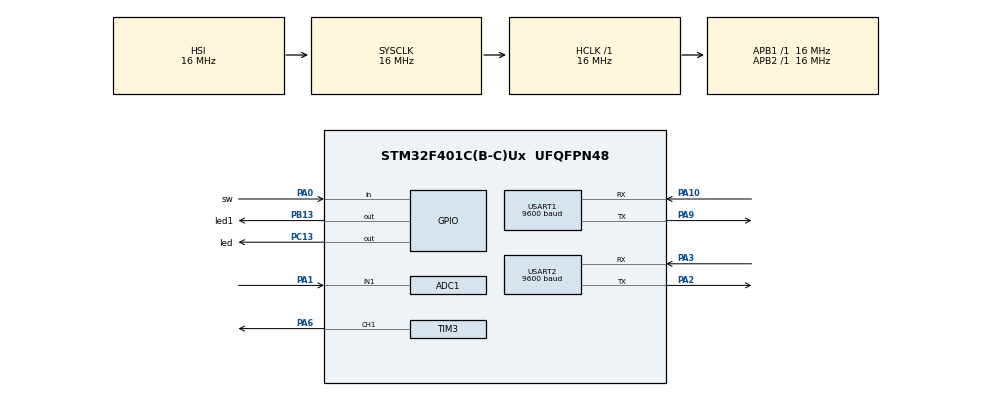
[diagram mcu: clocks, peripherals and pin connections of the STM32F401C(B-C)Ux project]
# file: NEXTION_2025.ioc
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ADC1.Channel-0\#ChannelRegularConversion=ADC_CHANNEL_1
ADC1.Channel-1\#ChannelRegularConversion=ADC_CHANNEL_TEMPSENSOR
ADC1.NbrOfConversion=2
ADC1.NbrOfConversionFlag=1
ADC1.Rank-0\#ChannelRegularConversion=1
ADC1.Rank-1\#ChannelRegularConversion=2
ADC1.SamplingTime-0\#ChannelRegularConversion=ADC_SAMPLETIME_3CYCLES
ADC1.SamplingTime-1\#ChannelRegularConversion=ADC_SAMPLETIME_15CYCLES
ADC1.master=1
Dma.ADC1.2.Direction=DMA_PERIPH_TO_MEMORY
Dma.ADC1.2.FIFOMode=DMA_FIFOMODE_DISABLE
Dma.ADC1.2.Instance=DMA2_Stream0
Dma.ADC1.2.MemDataAlignment=DMA_MDATAALIGN_HALFWORD
Dma.ADC1.2.MemInc=DMA_MINC_ENABLE
Dma.ADC1.2.Mode=DMA_NORMAL
Dma.ADC1.2.PeriphDataAlignment=DMA_PDATAALIGN_HALFWORD
Dma.ADC1.2.PeriphInc=DMA_PINC_DISABLE
Dma.ADC1.2.Priority=DMA_PRIORITY_LOW
Dma.Request0=USART2_RX
Dma.Request1=USART1_RX
Dma.Request2=ADC1
Dma.USART1_RX.1.Direction=DMA_PERIPH_TO_MEMORY
Dma.USART1_RX.1.FIFOMode=DMA_FIFOMODE_DISABLE
Dma.USART1_RX.1.Instance=DMA2_Stream2
Dma.USART1_RX.1.MemDataAlignment=DMA_MDATAALIGN_BYTE
Dma.USART1_RX.1.MemInc=DMA_MINC_ENABLE
Dma.USART1_RX.1.Mode=DMA_NORMAL
Dma.USART1_RX.1.PeriphDataAlignment=DMA_PDATAALIGN_BYTE
Dma.USART1_RX.1.PeriphInc=DMA_PINC_DISABLE
Dma.USART1_RX.1.Priority=DMA_PRIORITY_LOW
Dma.USART2_RX.0.Direction=DMA_PERIPH_TO_MEMORY
Dma.USART2_RX.0.FIFOMode=DMA_FIFOMODE_DISABLE
Dma.USART2_RX.0.Instance=DMA1_Stream5
Dma.USART2_RX.0.MemDataAlignment=DMA_MDATAALIGN_BYTE
Dma.USART2_RX.0.MemInc=DMA_MINC_ENABLE
Dma.USART2_RX.0.Mode=DMA_NORMAL
Dma.USART2_RX.0.PeriphDataAlignment=DMA_PDATAALIGN_BYTE
Dma.USART2_RX.0.PeriphInc=DMA_PINC_DISABLE
Dma.USART2_RX.0.Priority=DMA_PRIORITY_LOW
Mcu.Family=STM32F4
Mcu.Name=STM32F401C(B-C)Ux
Mcu.Package=UFQFPN48
NVIC.DMA1_Stream5_IRQn=true\:0\:0\:false\:false\:true\:false\:true\:true
NVIC.DMA2_Stream0_IRQn=true\:0\:0\:false\:false\:true\:false\:true\:true
NVIC.DMA2_Stream2_IRQn=true\:0\:0\:false\:false\:true\:false\:true\:true
NVIC.PriorityGroup=NVIC_PRIORITYGROUP_4
NVIC.USART1_IRQn=true\:0\:0\:false\:false\:true\:true\:true\:true
NVIC.USART2_IRQn=true\:0\:0\:false\:false\:true\:true\:true\:true
PA0-WKUP.GPIO_Label=sw
PA0-WKUP.GPIO_PuPd=GPIO_PULLUP
PA0-WKUP.Signal=GPIO_Input
PA1.Signal=ADCx_IN1
PA10.Mode=Asynchronous
PA10.Signal=USART1_RX
PA2.Mode=Asynchronous
PA2.Signal=USART2_TX
PA3.Mode=Asynchronous
PA3.Signal=USART2_RX
PA6.Signal=S_TIM3_CH1
PA9.Mode=Asynchronous
PA9.Signal=USART1_TX
PB13.GPIO_Label=led1
PB13.Signal=GPIO_Output
PC13-ANTI_TAMP.GPIO_Label=led
PC13-ANTI_TAMP.Signal=GPIO_Output
ProjectManager.HeapSize=0x200
ProjectManager.StackSize=0x400
ProjectManager.TargetToolchain=STM32CubeIDE
RCC.AHBFreq_Value=16000000
RCC.APB1Freq_Value=16000000
RCC.APB2Freq_Value=16000000
RCC.CortexFreq_Value=16000000
RCC.HSE_VALUE=25000000
RCC.HSI_VALUE=16000000
RCC.LSE_VALUE=32768
RCC.SYSCLKFreq_VALUE=16000000
RCC.VCOOutputFreq_Value=192000000
SH.ADCx_IN1.0=ADC1_IN1,IN1
SH.S_TIM3_CH1.0=TIM3_CH1,PWM Generation1 CH1
TIM3.AutoReloadPreload=TIM_AUTORELOAD_PRELOAD_ENABLE
TIM3.Channel-PWM\ Generation1\ CH1=TIM_CHANNEL_1
TIM3.Period=20000
TIM3.Prescaler=16-1
USART1.BaudRate=9600
USART1.VirtualMode=VM_ASYNC
USART2.BaudRate=9600
USART2.VirtualMode=VM_ASYNC
VP_ADC1_TempSens_Input.Mode=IN-TempSens
VP_TIM3_VS_ClockSourceINT.Mode=Internal
board=custom

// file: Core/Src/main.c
/* USER CODE BEGIN Header */
/**
  ******************************************************************************
  * @file           : main.c
  * @brief          : Main program body
  ******************************************************************************
  * @attention
  *
  * Copyright (c) 2025 STMicroelectronics.
  * All rights reserved.
  *
  * This software is licensed under terms that can be found in the LICENSE file
  * in the root directory of this software component.
  * If no LICENSE file comes with this software, it is provided AS-IS.
  *
  ******************************************************************************
  */
/* USER CODE END Header */
#include "main.h"

/* USER CODE BEGIN Includes */
#include "adc_x.h"
#include "uart.h"
#include "PWMB.h"
#include "pinout.h"
#include "Nextion.h"
#include "UARTRX.h"
#include "stdlib.h"
#include "stdint.h"
#include "stdio.h"
#include "string.h"
#include "math.h"
#include "MAP_.h"

/* USER CODE END Includes */

ADC_HandleTypeDef hadc1;
DMA_HandleTypeDef hdma_adc1;

TIM_HandleTypeDef htim3;

UART_HandleTypeDef huart1;
UART_HandleTypeDef huart2;
DMA_HandleTypeDef hdma_usart1_rx;
DMA_HandleTypeDef hdma_usart2_rx;

/* USER CODE BEGIN PV */
char texto[50];
uint16_t codigo;
float voltaje1,voltaje2, temperatura;
uint8_t graf=0;
/* USER CODE END PV */

void SystemClock_Config(void);
static void MX_GPIO_Init(void);
static void MX_DMA_Init(void);
static void MX_ADC1_Init(void);
static void MX_TIM3_Init(void);
static void MX_USART1_UART_Init(void);
static void MX_USART2_UART_Init(void);

/* USER CODE BEGIN 0 */
void procesa_nextion()
{

  if (Nextion_Read_Text("sw1=on")==1) PIN_OFF(led);
  else if (Nextion_Read_Text("sw1=off")==1) PIN_ON(led);

  else if (Nextion_Read_Text("graon")==1) graf=1;
  else if (Nextion_Read_Text("graoff")==1) graf=0;

  //calcula una variable
  else if (Nextion_Read_Text("pwm1=")==1)
  {
  uint8_t ancho=Nextion_Read_1Byte();
  PWM_valor(&PWM1, ancho);
  }

  else if (Nextion_Read_Text("setint=")==1)
    {
    uint16_t numero=Nextion_Read_2Byte();
    sprintf(texto,"\r\nnum1=%d\r\n",numero);
	uartx_write_text(&huart2, texto);
	HAL_Delay(2000);
    }
  else if (Nextion_Read_Text("set4=")==1)
     {
     uint32_t numero=Nextion_Read_4Byte();
     sprintf(texto,"\r\nnum1=%lu\r\n",numero);
 	uartx_write_text(&huart2, texto);
 	HAL_Delay(2000);
     }
  //lee una avrible flotante tipo texto
  else if (Nextion_Read_Text("setext=")==1)
      {
        Nextion_Read_TextVar();//lee  la variable entre = y /
 //relaiza algo
        uint16_t ancho=atoi(nextion_text);
		PWM_valor(&PWM1, ancho);

      }
  //lee una info tipo texto no variab;e
  else if (Nextion_Read_Text("nom=")==1)
        {
          Nextion_Read_TextVar();//lee  la variable entre = y /
   //relaiza algo
          uartx_write_text(&huart2, nextion_text);
           	HAL_Delay(2000);
        }

}
/* USER CODE END 0 */

int main(void)
{

  /* MCU Configuration--------------------------------------------------------*/

  /* Reset of all peripherals, Initializes the Flash interface and the Systick. */
  HAL_Init();

  /* Configure the system clock */
  SystemClock_Config();

  /* Initialize all configured peripherals */
  MX_GPIO_Init();
  MX_DMA_Init();
  MX_ADC1_Init();
  MX_TIM3_Init();
  MX_USART1_UART_Init();
  MX_USART2_UART_Init();
  /* USER CODE BEGIN 2 */
  uartx_write_text(&huart2, "INICIANDO2\r\n");

  PWM_init(&PWM1);
  PWM_valor(&PWM1, 0);

  nextionRX_init();
  /* USER CODE END 2 */

  /* Infinite loop */
  /* USER CODE BEGIN WHILE */
  while (1)
  {
	  if (UARTNEXTION.flag_rx==1)
	  {
	     //uartx_write_text(&huart2, UARTNEXTION.trama_rx);
		 procesa_nextion();
	     //sprintf (texto,"\r\nSON=%u\r\n",UARTNEXTION.num_datos);
		 // uartx_write_text(&huart2, texto);
		  nextionRX_REinit();
	  }

	 ADC_Read_DMA(&hadc1);
	 voltaje1=adc_codigo[0]*3.3/4095.0;
	 voltaje2=adc_codigo[1]*3.3/4095.0;
	 float voltajex;
     if (voltaje1>=1)  voltajex= 80.429*voltaje1 - 71.357;
     else voltajex= 80*voltaje1 + 290;

	    //datos sacados del datasheet
	    float const V25 = 0.76;  // V (Typical voltage at 25°C)
	    float const Avg_Slope = 0.0025;  // V/°C (Average slope of temperature vs. voltage)
	    //fromula sacada del manual de referencia
	    temperatura = ((voltaje2-V25) / Avg_Slope) + 25;

	 sprintf(texto,"V1=%.1f   Tem=%.1f\r\n\r\n",voltaje1,temperatura);
	uartx_write_text(&huart2, texto);

	float temperatura1=0.845*temperatura + 11.836;

	//envia voltaje
	Nextion_Send_Valor("pa0.vol.val=",voltajex);

	Nextion_Send_Valor("pa0.vf.val=",voltaje1*10);

	//envia la temperatura
    Nextion_Send_Valor("pa0.te.val=",temperatura1);

//   envia la temperatura float
    Nextion_Send_Valor("pa0.tef.val=", temperatura*10);

//    	 SUICHES O SEÑALES DIGITALES
	 if (PIN_READ(sw)==1)
		 Nextion_Send_Valor("pa0.led1.pic=", 1);
	else
		Nextion_Send_Text("pa0.led1.pic=0");

	 if (graf==1)
	 {
		 nextion_Send_Graf(2,0,map(voltaje1,0,3.3,0,200));

	 }

      //   HAL_Delay(600);
    /* USER CODE END WHILE */

  }
}

void SystemClock_Config(void)
{
  RCC_OscInitTypeDef RCC_OscInitStruct = {0};
  RCC_ClkInitTypeDef RCC_ClkInitStruct = {0};

  /** Configure the main internal regulator output voltage
  */
  __HAL_RCC_PWR_CLK_ENABLE();
  __HAL_PWR_VOLTAGESCALING_CONFIG(PWR_REGULATOR_VOLTAGE_SCALE2);

  /** Initializes the RCC Oscillators according to the specified parameters
  * in the RCC_OscInitTypeDef structure.
  */
  RCC_OscInitStruct.OscillatorType = RCC_OSCILLATORTYPE_HSI;
  RCC_OscInitStruct.HSIState = RCC_HSI_ON;
  RCC_OscInitStruct.HSICalibrationValue = RCC_HSICALIBRATION_DEFAULT;
  RCC_OscInitStruct.PLL.PLLState = RCC_PLL_NONE;
  if (HAL_RCC_OscConfig(&RCC_OscInitStruct) != HAL_OK)
  {
    Error_Handler();
  }

  /** Initializes the CPU, AHB and APB buses clocks
  */
  RCC_ClkInitStruct.ClockType = RCC_CLOCKTYPE_HCLK|RCC_CLOCKTYPE_SYSCLK
                              |RCC_CLOCKTYPE_PCLK1|RCC_CLOCKTYPE_PCLK2;
  RCC_ClkInitStruct.SYSCLKSource = RCC_SYSCLKSOURCE_HSI;
  RCC_ClkInitStruct.AHBCLKDivider = RCC_SYSCLK_DIV1;
  RCC_ClkInitStruct.APB1CLKDivider = RCC_HCLK_DIV1;
  RCC_ClkInitStruct.APB2CLKDivider = RCC_HCLK_DIV1;

  if (HAL_RCC_ClockConfig(&RCC_ClkInitStruct, FLASH_LATENCY_0) != HAL_OK)
  {
    Error_Handler();
  }
}

static void MX_ADC1_Init(void)
{

  ADC_ChannelConfTypeDef sConfig = {0};

  /** Configure the global features of the ADC (Clock, Resolution, Data Alignment and number of conversion)
  */
  hadc1.Instance = ADC1;
  hadc1.Init.ClockPrescaler = ADC_CLOCK_SYNC_PCLK_DIV2;
  hadc1.Init.Resolution = ADC_RESOLUTION_12B;
  hadc1.Init.ScanConvMode = ENABLE;
  hadc1.Init.ContinuousConvMode = DISABLE;
  hadc1.Init.DiscontinuousConvMode = DISABLE;
  hadc1.Init.ExternalTrigConvEdge = ADC_EXTERNALTRIGCONVEDGE_NONE;
  hadc1.Init.ExternalTrigConv = ADC_SOFTWARE_START;
  hadc1.Init.DataAlign = ADC_DATAALIGN_RIGHT;
  hadc1.Init.NbrOfConversion = 2;
  hadc1.Init.DMAContinuousRequests = DISABLE;
  hadc1.Init.EOCSelection = ADC_EOC_SINGLE_CONV;
  if (HAL_ADC_Init(&hadc1) != HAL_OK)
  {
    Error_Handler();
  }

  /** Configure for the selected ADC regular channel its corresponding rank in the sequencer and its sample time.
  */
  sConfig.Channel = ADC_CHANNEL_1;
  sConfig.Rank = 1;
  sConfig.SamplingTime = ADC_SAMPLETIME_3CYCLES;
  if (HAL_ADC_ConfigChannel(&hadc1, &sConfig) != HAL_OK)
  {
    Error_Handler();
  }

  /** Configure for the selected ADC regular channel its corresponding rank in the sequencer and its sample time.
  */
  sConfig.Channel = ADC_CHANNEL_TEMPSENSOR;
  sConfig.Rank = 2;
  sConfig.SamplingTime = ADC_SAMPLETIME_15CYCLES;
  if (HAL_ADC_ConfigChannel(&hadc1, &sConfig) != HAL_OK)
  {
    Error_Handler();
  }

}

static void MX_TIM3_Init(void)
{

  TIM_ClockConfigTypeDef sClockSourceConfig = {0};
  TIM_MasterConfigTypeDef sMasterConfig = {0};
  TIM_OC_InitTypeDef sConfigOC = {0};

  htim3.Instance = TIM3;
  htim3.Init.Prescaler = 16-1;
  htim3.Init.CounterMode = TIM_COUNTERMODE_UP;
  htim3.Init.Period = 20000;
  htim3.Init.ClockDivision = TIM_CLOCKDIVISION_DIV1;
  htim3.Init.AutoReloadPreload = TIM_AUTORELOAD_PRELOAD_ENABLE;
  if (HAL_TIM_Base_Init(&htim3) != HAL_OK)
  {
    Error_Handler();
  }
  sClockSourceConfig.ClockSource = TIM_CLOCKSOURCE_INTERNAL;
  if (HAL_TIM_ConfigClockSource(&htim3, &sClockSourceConfig) != HAL_OK)
  {
    Error_Handler();
  }
  if (HAL_TIM_PWM_Init(&htim3) != HAL_OK)
  {
    Error_Handler();
  }
  sMasterConfig.MasterOutputTrigger = TIM_TRGO_RESET;
  sMasterConfig.MasterSlaveMode = TIM_MASTERSLAVEMODE_DISABLE;
  if (HAL_TIMEx_MasterConfigSynchronization(&htim3, &sMasterConfig) != HAL_OK)
  {
    Error_Handler();
  }
  sConfigOC.OCMode = TIM_OCMODE_PWM1;
  sConfigOC.Pulse = 0;
  sConfigOC.OCPolarity = TIM_OCPOLARITY_HIGH;
  sConfigOC.OCFastMode = TIM_OCFAST_DISABLE;
  if (HAL_TIM_PWM_ConfigChannel(&htim3, &sConfigOC, TIM_CHANNEL_1) != HAL_OK)
  {
    Error_Handler();
  }
  HAL_TIM_MspPostInit(&htim3);

}

static void MX_USART1_UART_Init(void)
{

  huart1.Instance = USART1;
  huart1.Init.BaudRate = 9600;
  huart1.Init.WordLength = UART_WORDLENGTH_8B;
  huart1.Init.StopBits = UART_STOPBITS_1;
  huart1.Init.Parity = UART_PARITY_NONE;
  huart1.Init.Mode = UART_MODE_TX_RX;
  huart1.Init.HwFlowCtl = UART_HWCONTROL_NONE;
  huart1.Init.OverSampling = UART_OVERSAMPLING_16;
  if (HAL_UART_Init(&huart1) != HAL_OK)
  {
    Error_Handler();
  }

}

static void MX_USART2_UART_Init(void)
{

  huart2.Instance = USART2;
  huart2.Init.BaudRate = 9600;
  huart2.Init.WordLength = UART_WORDLENGTH_8B;
  huart2.Init.StopBits = UART_STOPBITS_1;
  huart2.Init.Parity = UART_PARITY_NONE;
  huart2.Init.Mode = UART_MODE_TX_RX;
  huart2.Init.HwFlowCtl = UART_HWCONTROL_NONE;
  huart2.Init.OverSampling = UART_OVERSAMPLING_16;
  if (HAL_UART_Init(&huart2) != HAL_OK)
  {
    Error_Handler();
  }

}

static void MX_DMA_Init(void)
{

  /* DMA controller clock enable */
  __HAL_RCC_DMA1_CLK_ENABLE();
  __HAL_RCC_DMA2_CLK_ENABLE();

  /* DMA interrupt init */
  /* DMA1_Stream5_IRQn interrupt configuration */
  HAL_NVIC_SetPriority(DMA1_Stream5_IRQn, 0, 0);
  HAL_NVIC_EnableIRQ(DMA1_Stream5_IRQn);
  /* DMA2_Stream0_IRQn interrupt configuration */
  HAL_NVIC_SetPriority(DMA2_Stream0_IRQn, 0, 0);
  HAL_NVIC_EnableIRQ(DMA2_Stream0_IRQn);
  /* DMA2_Stream2_IRQn interrupt configuration */
  HAL_NVIC_SetPriority(DMA2_Stream2_IRQn, 0, 0);
  HAL_NVIC_EnableIRQ(DMA2_Stream2_IRQn);

}

static void MX_GPIO_Init(void)
{
  GPIO_InitTypeDef GPIO_InitStruct = {0};

  /* GPIO Ports Clock Enable */
  __HAL_RCC_GPIOC_CLK_ENABLE();
  __HAL_RCC_GPIOA_CLK_ENABLE();
  __HAL_RCC_GPIOB_CLK_ENABLE();

  /*Configure GPIO pin Output Level */
  HAL_GPIO_WritePin(led_GPIO_Port, led_Pin, GPIO_PIN_RESET);

  /*Configure GPIO pin Output Level */
  HAL_GPIO_WritePin(led1_GPIO_Port, led1_Pin, GPIO_PIN_RESET);

  /*Configure GPIO pin : led_Pin */
  GPIO_InitStruct.Pin = led_Pin;
  GPIO_InitStruct.Mode = GPIO_MODE_OUTPUT_PP;
  GPIO_InitStruct.Pull = GPIO_NOPULL;
  GPIO_InitStruct.Speed = GPIO_SPEED_FREQ_LOW;
  HAL_GPIO_Init(led_GPIO_Port, &GPIO_InitStruct);

  /*Configure GPIO pin : sw_Pin */
  GPIO_InitStruct.Pin = sw_Pin;
  GPIO_InitStruct.Mode = GPIO_MODE_INPUT;
  GPIO_InitStruct.Pull = GPIO_PULLUP;
  HAL_GPIO_Init(sw_GPIO_Port, &GPIO_InitStruct);

  /*Configure GPIO pin : led1_Pin */
  GPIO_InitStruct.Pin = led1_Pin;
  GPIO_InitStruct.Mode = GPIO_MODE_OUTPUT_PP;
  GPIO_InitStruct.Pull = GPIO_NOPULL;
  GPIO_InitStruct.Speed = GPIO_SPEED_FREQ_LOW;
  HAL_GPIO_Init(led1_GPIO_Port, &GPIO_InitStruct);

}

void Error_Handler(void)
{
  __disable_irq();
  while (1)
  {
  }
}
